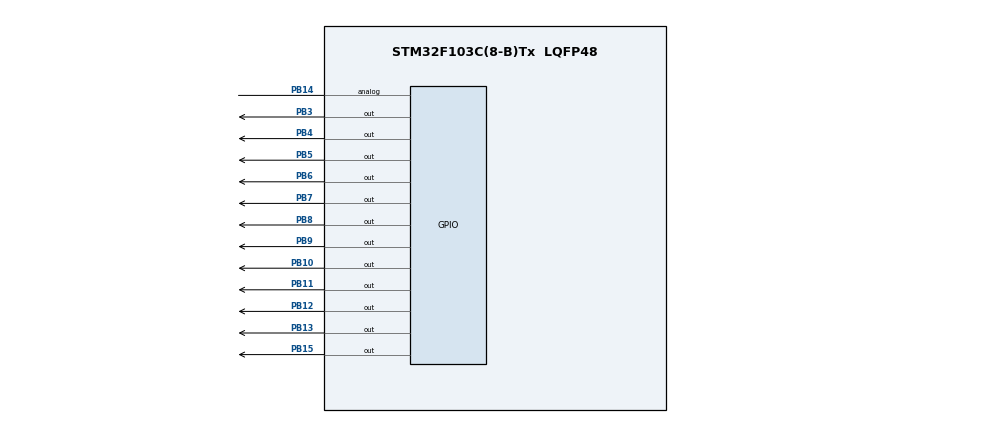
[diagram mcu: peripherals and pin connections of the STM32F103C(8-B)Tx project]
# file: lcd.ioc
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Mcu.Family=STM32F1
Mcu.Name=STM32F103C(8-B)Tx
Mcu.Package=LQFP48
NVIC.PriorityGroup=NVIC_PRIORITYGROUP_4
PB10.Signal=GPIO_Output
PB11.Signal=GPIO_Output
PB12.Signal=GPIO_Output
PB13.Signal=GPIO_Output
PB14.Signal=GPIO_Analog
PB15.Signal=GPIO_Output
PB3.Signal=GPIO_Output
PB4.Signal=GPIO_Output
PB5.Signal=GPIO_Output
PB6.Signal=GPIO_Output
PB7.Signal=GPIO_Output
PB8.Signal=GPIO_Output
PB9.Signal=GPIO_Output
ProjectManager.HeapSize=0x200
ProjectManager.StackSize=0x400
ProjectManager.TargetToolchain=STM32CubeIDE
RCC.APB1Freq_Value=8000000
RCC.APB2Freq_Value=8000000
board=custom

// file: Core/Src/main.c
/* USER CODE BEGIN Header */
/**
  ******************************************************************************
  * @file           : main.c
  * @brief          : Main program body
  ******************************************************************************
  * @attention
  *
  * Copyright (c) 2023 STMicroelectronics.
  * All rights reserved.
  *
  * This software is licensed under terms that can be found in the LICENSE file
  * in the root directory of this software component.
  * If no LICENSE file comes with this software, it is provided AS-IS.
  *
  ******************************************************************************
  */
/* USER CODE END Header */
#include "main.h"

void SystemClock_Config(void);
static void MX_GPIO_Init(void);

/* USER CODE BEGIN 0 */
#define RS	3
#define RW	4
#define EN	5
#define D0	6
#define D1	7
#define D2	8
#define D3	9
#define D4	10
#define D5	11
#define D6	12
#define D7	13

/* USER CODE END 0 */

int main(void)
{

  /* MCU Configuration--------------------------------------------------------*/

  /* Reset of all peripherals, Initializes the Flash interface and the Systick. */
  HAL_Init();

  /* Configure the system clock */
  SystemClock_Config();

  /* Initialize all configured peripherals */
  MX_GPIO_Init();

  /* Infinite loop */
  while (1)
  {

    /* USER CODE BEGIN 3 */
	  HAL_Delay(5000);
	  HAL_GPIO_WritePin(GPIOB, RS, 0);
	  HAL_GPIO_WritePin(GPIOB, RW, 0);
	  HAL_GPIO_WritePin(GPIOB, D7, 0);
	  HAL_GPIO_WritePin(GPIOB, D6, 0);
	  HAL_GPIO_WritePin(GPIOB, D5, 1);
	  HAL_GPIO_WritePin(GPIOB, D4, 1);
	  HAL_GPIO_WritePin(GPIOB, D3, 1);
	  HAL_GPIO_WritePin(GPIOB, D2, 0);
	  HAL_GPIO_WritePin(GPIOB, D1, 0);
	  HAL_GPIO_WritePin(GPIOB, D0, 0);
	  HAL_GPIO_WritePin(GPIOB, EN, 0);
	  HAL_Delay(1);
	  HAL_GPIO_WritePin(GPIOB, EN, 1);
	  HAL_Delay(1);
	  HAL_GPIO_WritePin(GPIOB, EN, 0);
	  HAL_Delay(1);

	  HAL_Delay(10);

	  HAL_GPIO_WritePin(GPIOB, RS, 0);
	  HAL_GPIO_WritePin(GPIOB, RW, 0);
	  HAL_GPIO_WritePin(GPIOB, D7, 0);
	  HAL_GPIO_WritePin(GPIOB, D6, 0);
	  HAL_GPIO_WritePin(GPIOB, D5, 0);
	  HAL_GPIO_WritePin(GPIOB, D4, 0);
	  HAL_GPIO_WritePin(GPIOB, D3, 1);
	  HAL_GPIO_WritePin(GPIOB, D2, 1);
	  HAL_GPIO_WritePin(GPIOB, D1, 1);
	  HAL_GPIO_WritePin(GPIOB, D0, 0);
	  HAL_GPIO_WritePin(GPIOB, EN, 0);
	  HAL_Delay(1);
	  HAL_GPIO_WritePin(GPIOB, EN, 1);
	  HAL_Delay(1);
	  HAL_GPIO_WritePin(GPIOB, EN, 0);
	  HAL_Delay(1);

	  HAL_Delay(10000000);
  }
  /* USER CODE END 3 */
}

void SystemClock_Config(void)
{
  RCC_OscInitTypeDef RCC_OscInitStruct = {0};
  RCC_ClkInitTypeDef RCC_ClkInitStruct = {0};

  /** Initializes the RCC Oscillators according to the specified parameters
  * in the RCC_OscInitTypeDef structure.
  */
  RCC_OscInitStruct.OscillatorType = RCC_OSCILLATORTYPE_HSI;
  RCC_OscInitStruct.HSIState = RCC_HSI_ON;
  RCC_OscInitStruct.HSICalibrationValue = RCC_HSICALIBRATION_DEFAULT;
  RCC_OscInitStruct.PLL.PLLState = RCC_PLL_NONE;
  if (HAL_RCC_OscConfig(&RCC_OscInitStruct) != HAL_OK)
  {
    Error_Handler();
  }

  /** Initializes the CPU, AHB and APB buses clocks
  */
  RCC_ClkInitStruct.ClockType = RCC_CLOCKTYPE_HCLK|RCC_CLOCKTYPE_SYSCLK
                              |RCC_CLOCKTYPE_PCLK1|RCC_CLOCKTYPE_PCLK2;
  RCC_ClkInitStruct.SYSCLKSource = RCC_SYSCLKSOURCE_HSI;
  RCC_ClkInitStruct.AHBCLKDivider = RCC_SYSCLK_DIV1;
  RCC_ClkInitStruct.APB1CLKDivider = RCC_HCLK_DIV1;
  RCC_ClkInitStruct.APB2CLKDivider = RCC_HCLK_DIV1;

  if (HAL_RCC_ClockConfig(&RCC_ClkInitStruct, FLASH_LATENCY_0) != HAL_OK)
  {
    Error_Handler();
  }
}

static void MX_GPIO_Init(void)
{
  GPIO_InitTypeDef GPIO_InitStruct = {0};

  /* GPIO Ports Clock Enable */
  __HAL_RCC_GPIOB_CLK_ENABLE();

  /*Configure GPIO pin Output Level */
  HAL_GPIO_WritePin(GPIOB, GPIO_PIN_10|GPIO_PIN_11|GPIO_PIN_12|GPIO_PIN_13
                          |GPIO_PIN_15|GPIO_PIN_3|GPIO_PIN_4|GPIO_PIN_5
                          |GPIO_PIN_6|GPIO_PIN_7|GPIO_PIN_8|GPIO_PIN_9, GPIO_PIN_RESET);

  /*Configure GPIO pins : PB10 PB11 PB12 PB13
                           PB15 PB3 PB4 PB5
                           PB6 PB7 PB8 PB9 */
  GPIO_InitStruct.Pin = GPIO_PIN_10|GPIO_PIN_11|GPIO_PIN_12|GPIO_PIN_13
                          |GPIO_PIN_15|GPIO_PIN_3|GPIO_PIN_4|GPIO_PIN_5
                          |GPIO_PIN_6|GPIO_PIN_7|GPIO_PIN_8|GPIO_PIN_9;
  GPIO_InitStruct.Mode = GPIO_MODE_OUTPUT_PP;
  GPIO_InitStruct.Pull = GPIO_NOPULL;
  GPIO_InitStruct.Speed = GPIO_SPEED_FREQ_LOW;
  HAL_GPIO_Init(GPIOB, &GPIO_InitStruct);

  /*Configure GPIO pin : PB14 */
  GPIO_InitStruct.Pin = GPIO_PIN_14;
  GPIO_InitStruct.Mode = GPIO_MODE_ANALOG;
  HAL_GPIO_Init(GPIOB, &GPIO_InitStruct);

}

void Error_Handler(void)
{
  __disable_irq();
  while (1)
  {
  }
}
